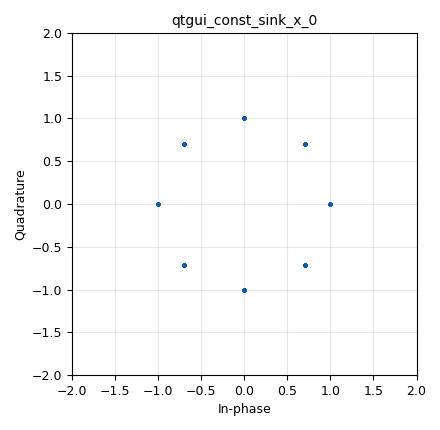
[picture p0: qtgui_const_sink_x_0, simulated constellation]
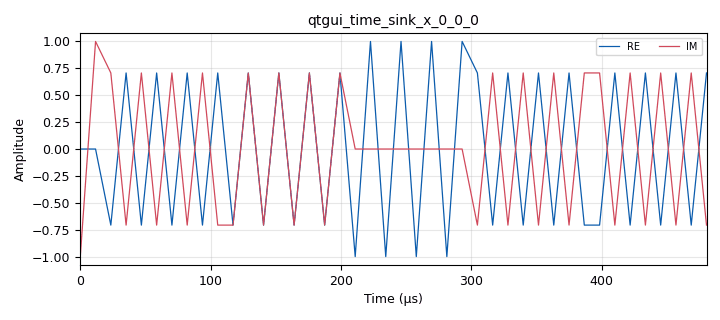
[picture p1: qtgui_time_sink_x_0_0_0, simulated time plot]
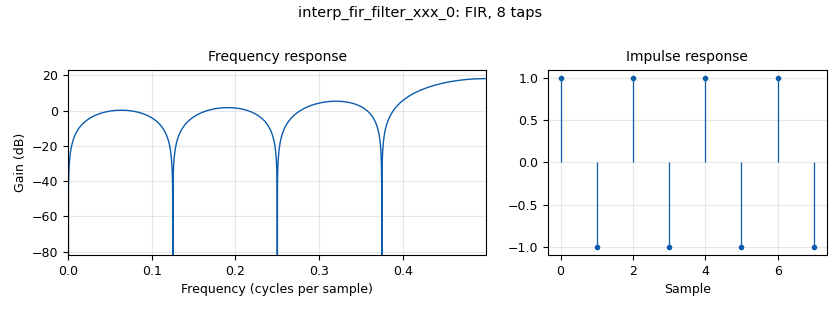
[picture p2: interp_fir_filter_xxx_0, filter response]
options:
  parameters:
    author: comu2_b2
    generate_options: qt_gui
    id: M_PAM
    output_language: python
    title: Not titled yet
  states: {}

blocks:
- name: M
  id: variable
  parameters:
    value: '8'
  states: {}
- name: Npbs
  id: variable
  parameters:
    value: int(math.log(M,2))
  states: {}
- name: Rb
  id: variable
  parameters:
    value: '32000'
  states: {}
- name: Rs
  id: variable
  parameters:
    value: Rb/Npbs
  states: {}
- name: Sps
  id: variable
  parameters:
    value: len(h)
  states: {}
- name: h
  id: variable
  parameters:
    value: (1,-1,1,-1,1,-1,1,-1)
  states: {}
- name: samp_rate
  id: variable
  parameters:
    value: Rs*Sps
  states: {}
- name: blocks_pack_k_bits_bb_0
  id: blocks_pack_k_bits_bb
  parameters:
    k: Npbs
  states: {}
- name: blocks_vector_source_x_0
  id: blocks_vector_source_x
  parameters:
    repeat: 'True'
    type: byte
    vector: (0, 0,1,1,1,0,1,1,0, 0,1,1,1,0,1,1)
  states: {}
- name: epy_block_0
  id: epy_block
  parameters:
    M: M
    _source_code: "\"\"\"\nEmbedded Python Blocks:\n\nEach time this file is saved, GRC will instantiate the first class it finds\nto get ports and parameters of your block. The arguments to __init__  will\nbe the parameters. All of them are required to have default values!\n\"\"\"\n\nimport numpy as np\nfrom gnuradio import gr\nimport cmath\n\n\nclass blk(gr.sync_block):  # other base classes are basic_block, decim_block, interp_block\n    \"\"\"Embedded Python Block example - a simple multiply const\"\"\"\n\n    def __init__(self,M=4):  # only default arguments here\n        \"\"\"arguments to this function show up as parameters in GRC\"\"\"\n        gr.sync_block.__init__(\n            self,\n            name='QPSK Modulator',   # will show up in GRC\n            in_sig=[np.int8],\n            out_sig=[np.complex64]\n        )\n        self.M = M\n       \n    \n    def work(self, input_items, output_items):\n        \"\"\"example: multiply with constant\"\"\"\n        input_data= input_items[0]\n        output_data = output_items[0]\n        #theta = np.linspace((5*np.pi)/4, (13*np.pi)/4,self.M, endpoint=False)\n        theta = np.linspace((0*np.pi)/4, (8*np.pi)/4,self.M, endpoint=False)\n        x =np.cos(theta)\n        y =np.sin(theta)\n        y =y*1j\n        z = x+y\n        constelacion = dict(enumerate(z))\n       \n        \n        for i in range(len(input_data)):\n        \tsymbol = constelacion.get(input_data[i],0)\n        \toutput_data[i] = symbol\n        \n        return len(input_data)\n        \n        \n"
  states: {}
- name: import_0
  id: import
  parameters:
    imports: import math
  states: {}
- name: import_1
  id: import
  parameters:
    imports: import numpy as np
  states: {}
- name: interp_fir_filter_xxx_0
  id: interp_fir_filter_xxx
  parameters:
    interp: Sps
    taps: h
    type: ccc
  states: {}
- name: qtgui_const_sink_x_0
  id: qtgui_const_sink_x
  parameters:
    size: '1024'
    type: complex
  states: {}
- name: qtgui_time_sink_x_0_0_0
  id: qtgui_time_sink_x
  parameters:
    color1: red
    color2: black
    label1: RE
    label2: IM
    size: int(16*Sps/Npbs)
    srate: samp_rate
    type: complex
    width1: '3'
  states: {}

connections:
- [blocks_pack_k_bits_bb_0, '0', epy_block_0, '0']
- [blocks_vector_source_x_0, '0', blocks_pack_k_bits_bb_0, '0']
- [epy_block_0, '0', interp_fir_filter_xxx_0, '0']
- [interp_fir_filter_xxx_0, '0', qtgui_const_sink_x_0, '0']
- [interp_fir_filter_xxx_0, '0', qtgui_time_sink_x_0_0_0, '0']

metadata:
  file_format: 1
  grc_version: 3.10.9.2
